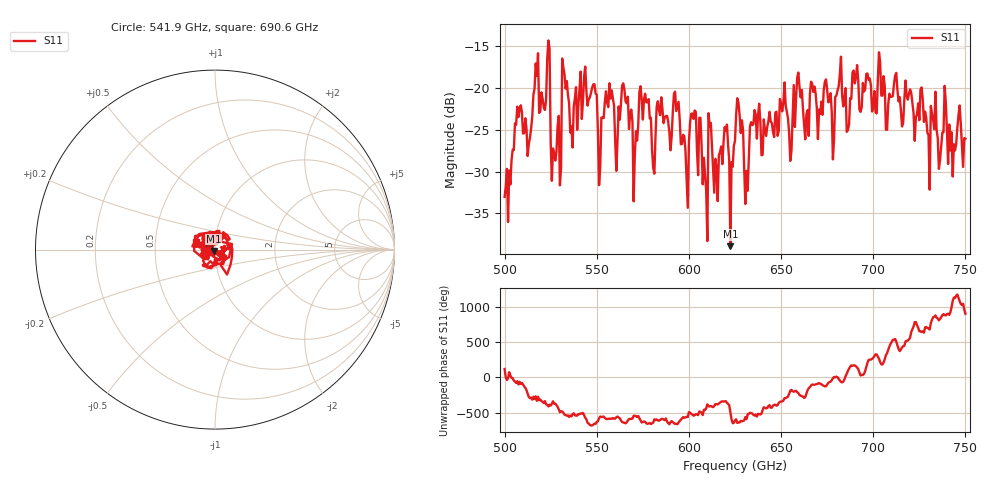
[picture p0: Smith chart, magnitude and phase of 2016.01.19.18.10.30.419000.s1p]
!Created with skrf (http://scikit-rf.org).
# GHz S RI R 50.0
!freq ReS11 ImS11
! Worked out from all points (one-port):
!   401 points, 500 GHz to 750 GHz, reference 50 ohm
!   lowest |S11| = -38.9 dB at 622.5 GHz (marker M1), VSWR 1.02, Z = 49.2 - j0.799 ohm
!   |S11| at or under -10 dB: start of sweep to end of sweep
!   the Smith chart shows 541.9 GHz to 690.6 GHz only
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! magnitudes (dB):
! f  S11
! 500 GHz  -33.0
! 508.1 GHz  -22.6
! 513.8 GHz  -25.9
! 516.9 GHz  -17.1
! 523.1 GHz  -16.5
! 526.9 GHz  -27.7
! 531.2 GHz  -16.5
! 532.5 GHz  -18.4
! 562.5 GHz  -23.8
! 571.2 GHz  -25.2
! 574.4 GHz  -21.4
! 580.6 GHz  -29.6
! 593.8 GHz  -22.2
! 598.8 GHz  -30.9
! 602.5 GHz  -23.7
! 608.8 GHz  -30.3
! 611.9 GHz  -24.2
! 622.5 GHz  -38.9
! 625 GHz  -26.3
! 627.5 GHz  -23.2
! 631.2 GHz  -29.9
! 635 GHz  -24.3
! 656.2 GHz  -23.4
! 660 GHz  -19.9
! 663.8 GHz  -23.2
! 687.5 GHz  -21.2
! 718.8 GHz  -21.4
! 750 GHz  -26.0
